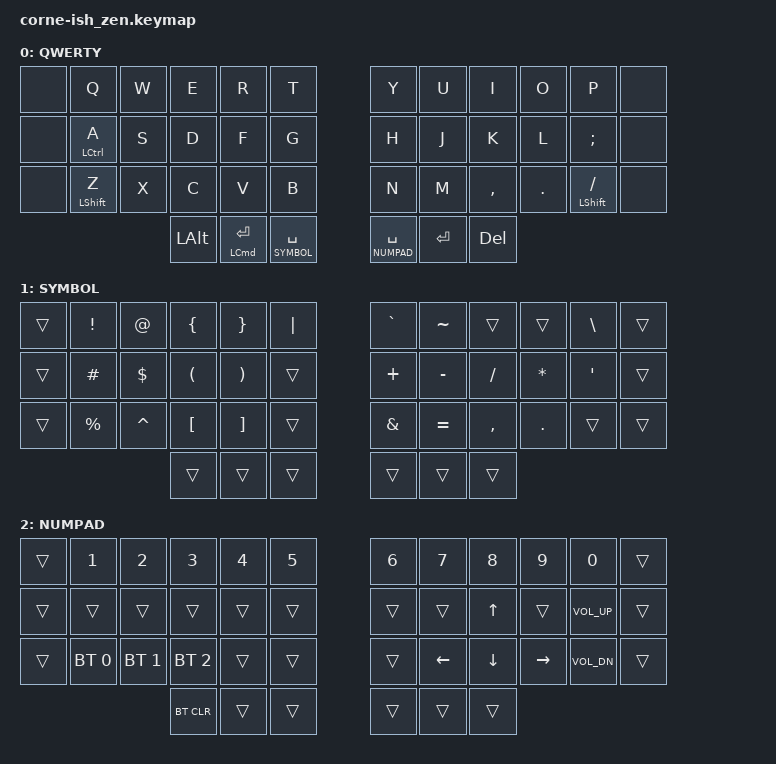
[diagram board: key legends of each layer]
/*
*
* Copyright (c) 2021 lowprokb.ca
* SPDX-License-Identifier: MIT
*
*/ 

#include <behaviors.dtsi>
#include <dt-bindings/zmk/keys.h>
#include <dt-bindings/zmk/bt.h>

#define QWERTY 0
#define SYMBOL 1
#define NUMPAD 2

&mt {
    flavor = "tap-preferred";
    tapping-term-ms = <200>;
};

/ {
        keymap {
                compatible = "zmk,keymap";

                default_layer {
                        label = "QWERTY";
                        bindings = <
   &none        &kp Q   &kp W   &kp E   &kp R   &kp T                   &kp Y   &kp U   &kp I    &kp O   &kp P              &none
   &none        &mt LCTRL A &kp S &kp D  &kp F   &kp G                  &kp H   &kp J   &kp K    &kp L   &kp SEMI           &none
   &none        &mt LSHIFT Z &kp X &kp C &kp V   &kp B                  &kp N   &kp M   &kp CMMA &kp DOT &mt LSHIFT FSLH    &none
                        &kp LALT &mt LCMD ENTER &lt SYMBOL SPC          &lt NUMPAD SPC &kp ENTER &kp DEL
                        >;
                };

                symbol_layer {
                        label = "SYMBOL";
                        bindings = <
   &trans        &kp EXCL &kp AT &kp LBRC &kp RBRC &kp PIPE         &kp GRAVE &kp TILDE &trans    &trans   &kp BACKSLASH                  &trans
   &trans        &kp HASH &kp DLLR &kp LPAR &kp RPAR &trans       &kp PLUS &kp MINUS &kp SLASH &kp ASTERISK &kp SINGLE_QUOTE            &trans
   &trans        &kp PRCNT &kp CARET &kp LBKT &kp RBKT &trans     &kp AMPS &kp EQUAL &kp COMMA &kp PERIOD &trans                        &trans
                        &trans &trans &trans                       &trans &trans &trans
                        >;
                };

                numpad_layer {
                        label = "NUMPAD";
                        bindings = < 
   &trans        &kp N1 &kp N2 &kp N3 &kp N4 &kp N5                     &kp N6 &kp N7 &kp N8 &kp N9 &kp N0                              &trans
   &trans        &trans &trans &trans &trans &trans                     &trans &trans &kp UP &trans &kp K_VOL_UP                        &trans
   &trans        &bt BT_SEL 0 &bt BT_SEL 1 &bt BT_SEL 2 &trans &trans   &trans &kp LEFT &kp DOWN &kp RIGHT &kp K_VOL_DN                 &trans
                        &bt BT_CLR &trans &trans                        &trans &trans &trans
                        >;
                };
        };
        combos {
                compatible = "zmk,combos";
                combo_esc {
                        timeout-ms = <50>;
                        key-positions = <1 2>;
                        bindings = <&kp ESC>;
                };
                combo_bksp {
                        timeout-ms = <50>;
                        key-positions = <14 15>;
                        bindings = <&kp BACKSPACE>;
                };
                combo_tab {
                        timeout-ms = <50>;
                        key-positions = <15 16>;
                        bindings = <&kp TAB>;
                };
                combo_single_quote {
                        timeout-ms = <50>;
                        key-positions = <20 21>;
                        bindings = <&kp SINGLE_QUOTE>;
                };
                combo_double_quote {
                        timeout-ms = <50>;
                        key-positions = <32 33>;
                        bindings = <&kp DOUBLE_QUOTES>;
                };
                combo_dash {
                        timeout-ms = <50>;
                        key-positions = <19 20>;
                        bindings = <&kp MINUS>;
                };
                combo_underscore {
                        timeout-ms = <50>;
                        key-positions = <31 32>;
                        bindings = <&kp UNDERSCORE>;
                };
        };

};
